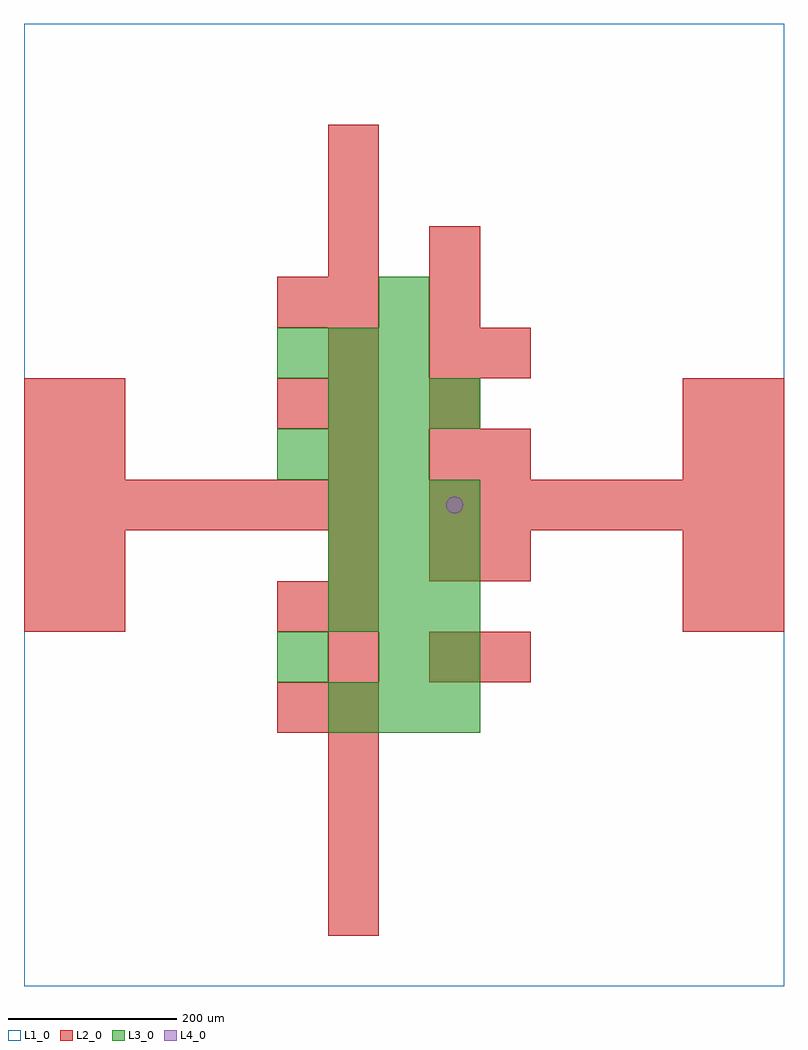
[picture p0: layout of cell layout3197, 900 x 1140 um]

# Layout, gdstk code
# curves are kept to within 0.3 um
import gdstk
lib = gdstk.Library(unit=1e-6, precision=1e-09)
def R(c, l, rs):  # rectangles x0, y0, x1, y1
    for r in rs: c.add(gdstk.rectangle(r[:2], r[2:], *l))
def A(c, l, x, y, w, h, nx, ny, dx, dy):  # array of equal rectangles
    R(c, l, [(x+i*dx, y+j*dy, x+i*dx+w, y+j*dy+h) for i in range(nx) for j in range(ny)])
def P(c, l, *ps):  # polygons
    for p in ps: c.add(gdstk.Polygon(p, *l))
L1_0 = (1, 0)
L2_0 = (2, 0)
L3_0 = (3, 0)
L4_0 = (4, 0)

layout3197 = lib.new_cell('layout3197')
R(layout3197, L1_0, [(0,0,900,1140)])
A(layout3197, L2_0, 360, 60, 60, 60, 1, 8, 0, 60)
A(layout3197, L2_0, 480, 360, 60, 60, 1, 3, 0, 120)
A(layout3197, L2_0, 540, 360, 60, 60, 1, 4, 0, 120)
A(layout3197, L2_0, 0, 540, 60, 60, 7, 1, 60, 0)
A(layout3197, L2_0, 480, 540, 60, 60, 7, 1, 60, 0)
A(layout3197, L2_0, 360, 600, 60, 60, 1, 7, 0, 60)
A(layout3197, L2_0, 480, 660, 60, 60, 1, 4, 0, 60)
R(layout3197, L2_0, [(300,300,360,360), (0,420,60,480), (60,420,120,480), (300,420,360,480), (780,420,840,480), (840,420,900,480), (0,480,60,540), (60,480,120,540), (780,480,840,540), (840,480,900,540), (0,600,60,660), (60,600,120,660), (780,600,840,660), (840,600,900,660), (0,660,60,720), (60,660,120,720), (300,660,360,720), (780,660,840,720), (840,660,900,720), (300,780,360,840)])
A(layout3197, L3_0, 360, 300, 60, 60, 3, 2, 60, 120)
A(layout3197, L3_0, 360, 480, 60, 60, 3, 2, 60, 60)
A(layout3197, L3_0, 300, 600, 60, 60, 3, 2, 60, 120)
A(layout3197, L3_0, 360, 660, 60, 60, 3, 1, 60, 0)
R(layout3197, L3_0, [(300,360,360,420), (420,360,480,420), (480,360,540,420), (420,780,480,840)])
P(layout3197, L4_0, [(520,570),(519.239,573.827),(517.071,577.071),(513.827,579.239),(510,580),(506.173,579.239),(502.929,577.071),(500.761,573.827),(500,570),(500.761,566.173),(502.929,562.929),(506.173,560.761),(510,560),(513.827,560.761),(517.071,562.929),(519.239,566.173)])

lib.write_gds('layout3197.gds')
